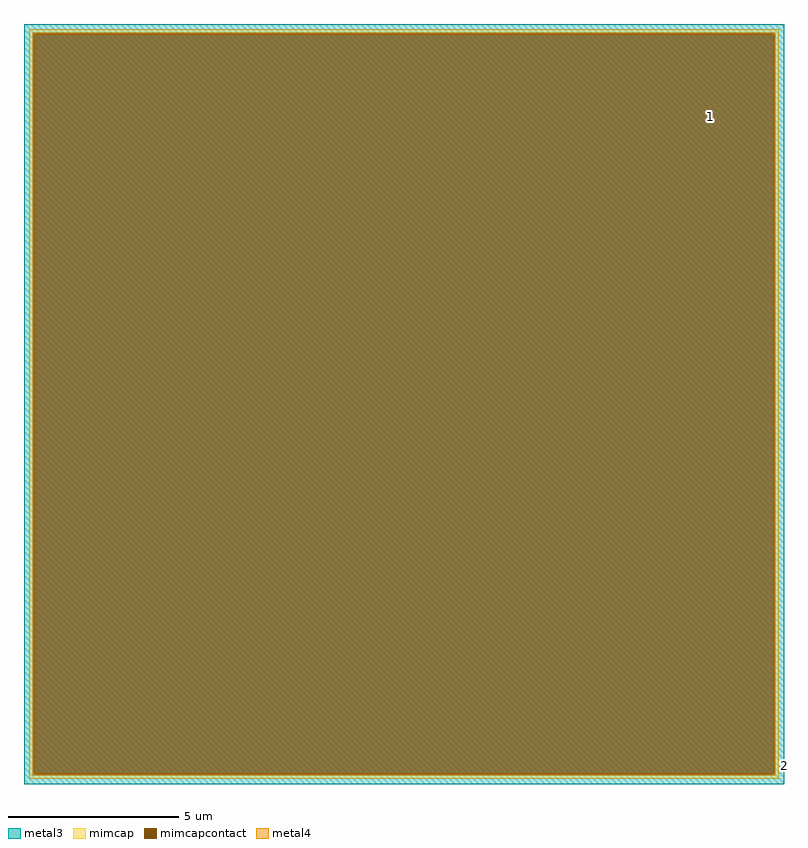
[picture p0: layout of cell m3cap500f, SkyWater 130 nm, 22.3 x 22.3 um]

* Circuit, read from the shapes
.subckt m3cap500f 1 2
XC1 1 2 sky130_fd_pr__cap_mim_m3_1 w=22 l=22
.ends

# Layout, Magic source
magic
tech sky130A
<< metal3 >>
rect -115 -15 2115 2215
<< mimcap >>
rect -100 2185 2100 2200
rect -100 15 -85 2185
rect 2085 15 2100 2185
rect -100 0 2100 15
<< mimcapcontact >>
rect -85 15 2085 2185
<< metal4 >>
rect -90 2185 2090 2190
rect -90 15 -85 2185
rect 2085 15 2090 2185
rect -90 10 2090 15
<< labels >>
rlabel metal3 2115 40 2115 40 3 2
rlabel mimcapcontact 1900 1945 1900 1945 3 1
<< end >>
